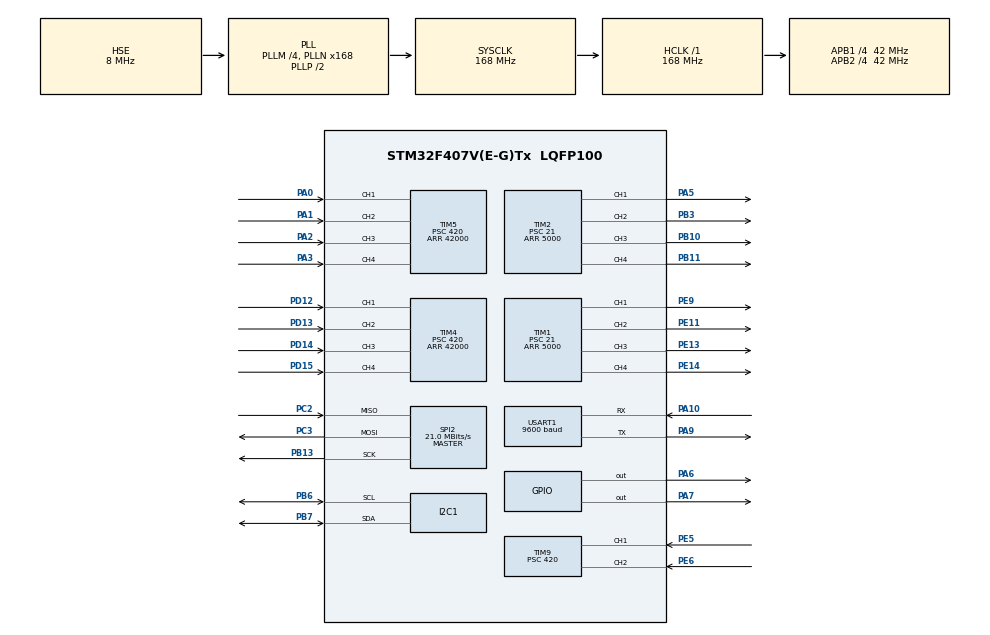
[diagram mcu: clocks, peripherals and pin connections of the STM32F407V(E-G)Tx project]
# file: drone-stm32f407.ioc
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Mcu.Family=STM32F4
Mcu.Name=STM32F407V(E-G)Tx
Mcu.Package=LQFP100
NVIC.I2C1_ER_IRQn=true\:0\:0\:false\:false\:true\:true\:true\:true
NVIC.I2C1_EV_IRQn=true\:0\:0\:false\:false\:true\:true\:true\:true
NVIC.PriorityGroup=NVIC_PRIORITYGROUP_4
NVIC.TIM1_BRK_TIM9_IRQn=true\:0\:0\:false\:false\:true\:true\:true\:true
NVIC.TIM3_IRQn=true\:0\:0\:false\:false\:true\:true\:true\:true
NVIC.TIM4_IRQn=true\:0\:0\:false\:false\:true\:true\:true\:true
NVIC.TIM5_IRQn=true\:0\:0\:false\:false\:true\:true\:true\:true
NVIC.USART1_IRQn=true\:0\:0\:false\:false\:true\:true\:true\:true
PA0-WKUP.Signal=S_TIM5_CH1
PA1.Signal=S_TIM5_CH2
PA10.Mode=Asynchronous
PA10.Signal=USART1_RX
PA13.Mode=Serial_Wire
PA13.Signal=SYS_JTMS-SWDIO
PA14.Mode=Serial_Wire
PA14.Signal=SYS_JTCK-SWCLK
PA2.Signal=S_TIM5_CH3
PA3.Signal=S_TIM5_CH4
PA5.Signal=S_TIM2_CH1_ETR
PA6.Signal=GPIO_Output
PA7.Signal=GPIO_Output
PA9.Mode=Asynchronous
PA9.Signal=USART1_TX
PB10.Signal=S_TIM2_CH3
PB11.Signal=S_TIM2_CH4
PB13.Mode=Full_Duplex_Master
PB13.Signal=SPI2_SCK
PB3.Signal=S_TIM2_CH2
PB6.Mode=I2C
PB6.Signal=I2C1_SCL
PB7.Mode=I2C
PB7.Signal=I2C1_SDA
PC2.Mode=Full_Duplex_Master
PC2.Signal=SPI2_MISO
PC3.Mode=Full_Duplex_Master
PC3.Signal=SPI2_MOSI
PD12.Signal=S_TIM4_CH1
PD13.Signal=S_TIM4_CH2
PD14.Signal=S_TIM4_CH3
PD15.Signal=S_TIM4_CH4
PE11.Signal=S_TIM1_CH2
PE13.Signal=S_TIM1_CH3
PE14.Signal=S_TIM1_CH4
PE5.Signal=S_TIM9_CH1
PE6.Signal=S_TIM9_CH2
PE9.Signal=S_TIM1_CH1
PH0-OSC_IN.Mode=HSE-External-Oscillator
PH0-OSC_IN.Signal=RCC_OSC_IN
PH1-OSC_OUT.Mode=HSE-External-Oscillator
PH1-OSC_OUT.Signal=RCC_OSC_OUT
ProjectManager.HeapSize=0x200
ProjectManager.StackSize=0x400
ProjectManager.TargetToolchain=STM32CubeIDE
RCC.48MHZClocksFreq_Value=84000000
RCC.AHBFreq_Value=168000000
RCC.APB1CLKDivider=RCC_HCLK_DIV4
RCC.APB1Freq_Value=42000000
RCC.APB1TimFreq_Value=84000000
RCC.APB2CLKDivider=RCC_HCLK_DIV4
RCC.APB2Freq_Value=42000000
RCC.APB2TimFreq_Value=84000000
RCC.CortexFreq_Value=168000000
RCC.HCLKFreq_Value=168000000
RCC.HSE_VALUE=8000000
RCC.HSI_VALUE=16000000
RCC.LSE_VALUE=32768
RCC.PLLM=4
RCC.PLLN=168
RCC.PLLSourceVirtual=RCC_PLLSOURCE_HSE
RCC.SYSCLKFreq_VALUE=168000000
RCC.SYSCLKSource=RCC_SYSCLKSOURCE_PLLCLK
RCC.VCOOutputFreq_Value=336000000
SH.S_TIM1_CH1.0=TIM1_CH1,PWM Generation1 CH1
SH.S_TIM1_CH2.0=TIM1_CH2,PWM Generation2 CH2
SH.S_TIM1_CH3.0=TIM1_CH3,PWM Generation3 CH3
SH.S_TIM1_CH4.0=TIM1_CH4,PWM Generation4 CH4
SH.S_TIM2_CH1_ETR.0=TIM2_CH1,PWM Generation1 CH1
SH.S_TIM2_CH2.0=TIM2_CH2,PWM Generation2 CH2
SH.S_TIM2_CH3.0=TIM2_CH3,PWM Generation3 CH3
SH.S_TIM2_CH4.0=TIM2_CH4,PWM Generation4 CH4
SH.S_TIM4_CH1.0=TIM4_CH1,Input_Capture1_from_TI1
SH.S_TIM4_CH2.0=TIM4_CH2,Input_Capture2_from_TI2
SH.S_TIM4_CH3.0=TIM4_CH3,Input_Capture3_from_TI3
SH.S_TIM4_CH4.0=TIM4_CH4,Input_Capture4_from_TI4
SH.S_TIM5_CH1.0=TIM5_CH1,Input_Capture1_from_TI1
SH.S_TIM5_CH2.0=TIM5_CH2,Input_Capture2_from_TI2
SH.S_TIM5_CH3.0=TIM5_CH3,Input_Capture3_from_TI3
SH.S_TIM5_CH4.0=TIM5_CH4,Input_Capture4_from_TI4
SH.S_TIM9_CH1.0=TIM9_CH1,Input_Capture1_from_TI1
SH.S_TIM9_CH2.0=TIM9_CH2,Input_Capture2_from_TI2
SPI2.CalculateBaudRate=21.0 MBits/s
SPI2.Direction=SPI_DIRECTION_2LINES
SPI2.Mode=SPI_MODE_MASTER
SPI2.VirtualType=VM_MASTER
TIM1.Channel-PWM\ Generation1\ CH1=TIM_CHANNEL_1
TIM1.Channel-PWM\ Generation2\ CH2=TIM_CHANNEL_2
TIM1.Channel-PWM\ Generation3\ CH3=TIM_CHANNEL_3
TIM1.Channel-PWM\ Generation4\ CH4=TIM_CHANNEL_4
TIM1.Period=5000
TIM1.Prescaler=21
TIM2.Channel-PWM\ Generation1\ CH1=TIM_CHANNEL_1
TIM2.Channel-PWM\ Generation2\ CH2=TIM_CHANNEL_2
TIM2.Channel-PWM\ Generation3\ CH3=TIM_CHANNEL_3
TIM2.Channel-PWM\ Generation4\ CH4=TIM_CHANNEL_4
TIM2.Period=5000
TIM2.Prescaler=21
TIM3.Period=5000
TIM3.Prescaler=84
TIM4.Channel-Input_Capture1_from_TI1=TIM_CHANNEL_1
TIM4.Channel-Input_Capture2_from_TI2=TIM_CHANNEL_2
TIM4.Channel-Input_Capture3_from_TI3=TIM_CHANNEL_3
TIM4.Channel-Input_Capture4_from_TI4=TIM_CHANNEL_4
TIM4.ICPolarity_CH1=TIM_INPUTCHANNELPOLARITY_BOTHEDGE
TIM4.ICPolarity_CH2=TIM_INPUTCHANNELPOLARITY_BOTHEDGE
TIM4.ICPolarity_CH3=TIM_INPUTCHANNELPOLARITY_BOTHEDGE
TIM4.ICPolarity_CH4=TIM_INPUTCHANNELPOLARITY_BOTHEDGE
TIM4.Period=42000
TIM4.Prescaler=420
TIM5.Channel-Input_Capture1_from_TI1=TIM_CHANNEL_1
TIM5.Channel-Input_Capture2_from_TI2=TIM_CHANNEL_2
TIM5.Channel-Input_Capture3_from_TI3=TIM_CHANNEL_3
TIM5.Channel-Input_Capture4_from_TI4=TIM_CHANNEL_4
TIM5.ICPolarity_CH1=TIM_INPUTCHANNELPOLARITY_BOTHEDGE
TIM5.ICPolarity_CH2=TIM_INPUTCHANNELPOLARITY_BOTHEDGE
TIM5.ICPolarity_CH3=TIM_INPUTCHANNELPOLARITY_BOTHEDGE
TIM5.ICPolarity_CH4=TIM_INPUTCHANNELPOLARITY_BOTHEDGE
TIM5.Period=42000
TIM5.Prescaler=420
TIM9.Channel-Input_Capture1_from_TI1=TIM_CHANNEL_1
TIM9.Channel-Input_Capture2_from_TI2=TIM_CHANNEL_2
TIM9.ICPolarity_CH1=TIM_INPUTCHANNELPOLARITY_BOTHEDGE
TIM9.ICPolarity_CH2=TIM_INPUTCHANNELPOLARITY_BOTHEDGE
TIM9.Period=42000
TIM9.Prescaler=420
USART1.BaudRate=9600
USART1.VirtualMode=VM_ASYNC
VP_TIM1_VS_ClockSourceINT.Mode=Internal
VP_TIM2_VS_ClockSourceINT.Mode=Internal
VP_TIM3_VS_ClockSourceINT.Mode=Internal
VP_TIM4_VS_ClockSourceINT.Mode=Internal
VP_TIM5_VS_ClockSourceINT.Mode=Internal
board=custom

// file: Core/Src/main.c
/* USER CODE BEGIN Header */
/**
  ******************************************************************************
  * @file           : main.c
  * @brief          : Main program body
  ******************************************************************************
  * @attention
  *
  * Copyright (c) 2022 STMicroelectronics.
  * All rights reserved.
  *
  * This software is licensed under terms that can be found in the LICENSE file
  * in the root directory of this software component.
  * If no LICENSE file comes with this software, it is provided AS-IS.
  *
  ******************************************************************************
  */
/* USER CODE END Header */
#include "main.h"

/* USER CODE BEGIN Includes */

#include <stdio.h>
#include <string.h>
#include "kalman.h"
#include "gy86.h"

/* USER CODE END Includes */

 I2C_HandleTypeDef hi2c1;

SPI_HandleTypeDef hspi2;

TIM_HandleTypeDef htim1;
TIM_HandleTypeDef htim2;
TIM_HandleTypeDef htim3;
TIM_HandleTypeDef htim4;
TIM_HandleTypeDef htim5;
TIM_HandleTypeDef htim9;

UART_HandleTypeDef huart1;

/* USER CODE BEGIN PV */

kalman_filter_t g_filters[10];

mpu6050_t g_mpu6050;
ms5611_t g_ms5611;

// UART receive buffer
uint8_t g_uart_rx_buffer[10] = {0, 0, 0, 0, 0, 0, 0, 0, 0, 0};

/* USER CODE END PV */

void SystemClock_Config(void);
static void MX_GPIO_Init(void);
static void MX_I2C1_Init(void);
static void MX_TIM1_Init(void);
static void MX_TIM2_Init(void);
static void MX_TIM3_Init(void);
static void MX_TIM4_Init(void);
static void MX_USART1_UART_Init(void);
static void MX_SPI2_Init(void);
static void MX_TIM5_Init(void);
static void MX_TIM9_Init(void);

/* USER CODE BEGIN 0 */

static void flash(uint8_t led, uint8_t count) {
  for (int i = 0; i < count; i++) {
    if (led == 1) HAL_GPIO_TogglePin(GPIOA, GPIO_PIN_6);
    if (led == 2) HAL_GPIO_TogglePin(GPIOA, GPIO_PIN_7);
    HAL_Delay(50);
    if (led == 1) HAL_GPIO_TogglePin(GPIOA, GPIO_PIN_6);
    if (led == 2) HAL_GPIO_TogglePin(GPIOA, GPIO_PIN_7);
    HAL_Delay(50);
  }

  HAL_Delay(100);
}

// Monitor console
void console(const char *str) {
  HAL_UART_Transmit_IT(&huart1, (uint8_t*)str, (uint16_t)strlen(str));
}

char g_console_msg[256] = {0};
void send_data(
  float x1, float x2, float x3,
  float x4, float x5, float x6,
  float x7, float x8, float x9) {
  memset(g_console_msg, 0, 256);
  sprintf(g_console_msg, "[%d,%d,%d,%d,%d,%d,%d,%d,%d]\n",
      (int)(x1*100000),
      (int)(x2*100000),
      (int)(x3*100000),
      (int)(x4*100000),
      (int)(x5*100000),
      (int)(x6*100000),
      (int)(x7*100000),
      (int)(x8*100000),
      (int)(x9*100000));
  console(g_console_msg);
}

extern float monitor[9];

/* USER CODE END 0 */

int main(void)
{

  /* MCU Configuration--------------------------------------------------------*/

  /* Reset of all peripherals, Initializes the Flash interface and the Systick. */
  HAL_Init();

  /* Configure the system clock */
  SystemClock_Config();

  /* Initialize all configured peripherals */
  MX_GPIO_Init();
  MX_I2C1_Init();
  MX_TIM1_Init();
  MX_TIM2_Init();
  MX_TIM3_Init();
  MX_TIM4_Init();
  MX_USART1_UART_Init();
  MX_SPI2_Init();
  MX_TIM5_Init();
  MX_TIM9_Init();
  /* USER CODE BEGIN 2 */

  // Turn off leds
  HAL_GPIO_WritePin(GPIOA, GPIO_PIN_6, RESET);
  HAL_GPIO_WritePin(GPIOA, GPIO_PIN_7, RESET);

  flash(1, 5);

  // Initialise filters for remote control
  kalman_filter_init(&g_filters[0], 2, 2, 0.01); // Thrust
  kalman_filter_init(&g_filters[1], 2, 2, 0.01); // Yaw
  kalman_filter_init(&g_filters[2], 2, 2, 0.01); // Pitch
  kalman_filter_init(&g_filters[3], 2, 2, 0.01); // Roll
  kalman_filter_init(&g_filters[4], 2, 2, 0.01); // Tune 1
  kalman_filter_init(&g_filters[5], 2, 2, 0.01); // Tune 2

  // Init gy-86
  while (1) {
    int error = MPU6050_init(
        &g_mpu6050,
        &hi2c1,
        MPU6050_DataRate_8KHz,
        MPU6050_Accelerometer_16G,
        MPU6050_Gyroscope_2000s);
    if (error == 0) break;
    flash(2, error);
  }

  MPU6050_set_offset(&g_mpu6050, -370, 50, 0, -4.4, -1.8, 0.5);

  while (1) {
    int error = MS5611_init(
        &g_ms5611,
        &hi2c1);
    if (error == 0) break;
    flash(2, error);
  }

  // For remote control input capture
  HAL_TIM_IC_Start_IT(&htim4, TIM_CHANNEL_1);
  HAL_TIM_IC_Start_IT(&htim4, TIM_CHANNEL_2);
  HAL_TIM_IC_Start_IT(&htim4, TIM_CHANNEL_3);
  HAL_TIM_IC_Start_IT(&htim4, TIM_CHANNEL_4);

  HAL_TIM_IC_Start_IT(&htim9, TIM_CHANNEL_1);
  HAL_TIM_IC_Start_IT(&htim9, TIM_CHANNEL_2);

  HAL_TIM_IC_Start_IT(&htim5, TIM_CHANNEL_1);
  HAL_TIM_IC_Start_IT(&htim5, TIM_CHANNEL_2);
  HAL_TIM_IC_Start_IT(&htim5, TIM_CHANNEL_3);
  HAL_TIM_IC_Start_IT(&htim5, TIM_CHANNEL_4);

  // Initialise motor PWM timer
  HAL_TIM_PWM_Start(&htim1, TIM_CHANNEL_1);
  HAL_TIM_PWM_Start(&htim1, TIM_CHANNEL_2);
  HAL_TIM_PWM_Start(&htim1, TIM_CHANNEL_3);
  HAL_TIM_PWM_Start(&htim1, TIM_CHANNEL_4);

  // Run timers after sensors have been setup
  HAL_TIM_Base_Start_IT(&htim3);

  /* USER CODE END 2 */

  /* Infinite loop */
  while (1)
  {

    /* USER CODE BEGIN 3 */
    HAL_UART_Receive_IT(&huart1, g_uart_rx_buffer, 1);
  }
  /* USER CODE END 3 */
}

void SystemClock_Config(void)
{
  RCC_OscInitTypeDef RCC_OscInitStruct = {0};
  RCC_ClkInitTypeDef RCC_ClkInitStruct = {0};

  /** Configure the main internal regulator output voltage
  */
  __HAL_RCC_PWR_CLK_ENABLE();
  __HAL_PWR_VOLTAGESCALING_CONFIG(PWR_REGULATOR_VOLTAGE_SCALE1);

  /** Initializes the RCC Oscillators according to the specified parameters
  * in the RCC_OscInitTypeDef structure.
  */
  RCC_OscInitStruct.OscillatorType = RCC_OSCILLATORTYPE_LSI|RCC_OSCILLATORTYPE_HSE;
  RCC_OscInitStruct.HSEState = RCC_HSE_ON;
  RCC_OscInitStruct.LSIState = RCC_LSI_ON;
  RCC_OscInitStruct.PLL.PLLState = RCC_PLL_ON;
  RCC_OscInitStruct.PLL.PLLSource = RCC_PLLSOURCE_HSE;
  RCC_OscInitStruct.PLL.PLLM = 4;
  RCC_OscInitStruct.PLL.PLLN = 168;
  RCC_OscInitStruct.PLL.PLLP = RCC_PLLP_DIV2;
  RCC_OscInitStruct.PLL.PLLQ = 4;
  if (HAL_RCC_OscConfig(&RCC_OscInitStruct) != HAL_OK)
  {
    Error_Handler();
  }

  /** Initializes the CPU, AHB and APB buses clocks
  */
  RCC_ClkInitStruct.ClockType = RCC_CLOCKTYPE_HCLK|RCC_CLOCKTYPE_SYSCLK
                              |RCC_CLOCKTYPE_PCLK1|RCC_CLOCKTYPE_PCLK2;
  RCC_ClkInitStruct.SYSCLKSource = RCC_SYSCLKSOURCE_PLLCLK;
  RCC_ClkInitStruct.AHBCLKDivider = RCC_SYSCLK_DIV1;
  RCC_ClkInitStruct.APB1CLKDivider = RCC_HCLK_DIV4;
  RCC_ClkInitStruct.APB2CLKDivider = RCC_HCLK_DIV4;

  if (HAL_RCC_ClockConfig(&RCC_ClkInitStruct, FLASH_LATENCY_5) != HAL_OK)
  {
    Error_Handler();
  }
}

static void MX_I2C1_Init(void)
{

  hi2c1.Instance = I2C1;
  hi2c1.Init.ClockSpeed = 100000;
  hi2c1.Init.DutyCycle = I2C_DUTYCYCLE_2;
  hi2c1.Init.OwnAddress1 = 0;
  hi2c1.Init.AddressingMode = I2C_ADDRESSINGMODE_7BIT;
  hi2c1.Init.DualAddressMode = I2C_DUALADDRESS_DISABLE;
  hi2c1.Init.OwnAddress2 = 0;
  hi2c1.Init.GeneralCallMode = I2C_GENERALCALL_DISABLE;
  hi2c1.Init.NoStretchMode = I2C_NOSTRETCH_DISABLE;
  if (HAL_I2C_Init(&hi2c1) != HAL_OK)
  {
    Error_Handler();
  }

}

static void MX_SPI2_Init(void)
{

  /* SPI2 parameter configuration*/
  hspi2.Instance = SPI2;
  hspi2.Init.Mode = SPI_MODE_MASTER;
  hspi2.Init.Direction = SPI_DIRECTION_2LINES;
  hspi2.Init.DataSize = SPI_DATASIZE_8BIT;
  hspi2.Init.CLKPolarity = SPI_POLARITY_LOW;
  hspi2.Init.CLKPhase = SPI_PHASE_1EDGE;
  hspi2.Init.NSS = SPI_NSS_SOFT;
  hspi2.Init.BaudRatePrescaler = SPI_BAUDRATEPRESCALER_2;
  hspi2.Init.FirstBit = SPI_FIRSTBIT_MSB;
  hspi2.Init.TIMode = SPI_TIMODE_DISABLE;
  hspi2.Init.CRCCalculation = SPI_CRCCALCULATION_DISABLE;
  hspi2.Init.CRCPolynomial = 10;
  if (HAL_SPI_Init(&hspi2) != HAL_OK)
  {
    Error_Handler();
  }

}

static void MX_TIM1_Init(void)
{

  TIM_ClockConfigTypeDef sClockSourceConfig = {0};
  TIM_MasterConfigTypeDef sMasterConfig = {0};
  TIM_OC_InitTypeDef sConfigOC = {0};
  TIM_BreakDeadTimeConfigTypeDef sBreakDeadTimeConfig = {0};

  htim1.Instance = TIM1;
  htim1.Init.Prescaler = 21;
  htim1.Init.CounterMode = TIM_COUNTERMODE_UP;
  htim1.Init.Period = 5000;
  htim1.Init.ClockDivision = TIM_CLOCKDIVISION_DIV1;
  htim1.Init.RepetitionCounter = 0;
  htim1.Init.AutoReloadPreload = TIM_AUTORELOAD_PRELOAD_DISABLE;
  if (HAL_TIM_Base_Init(&htim1) != HAL_OK)
  {
    Error_Handler();
  }
  sClockSourceConfig.ClockSource = TIM_CLOCKSOURCE_INTERNAL;
  if (HAL_TIM_ConfigClockSource(&htim1, &sClockSourceConfig) != HAL_OK)
  {
    Error_Handler();
  }
  if (HAL_TIM_PWM_Init(&htim1) != HAL_OK)
  {
    Error_Handler();
  }
  sMasterConfig.MasterOutputTrigger = TIM_TRGO_RESET;
  sMasterConfig.MasterSlaveMode = TIM_MASTERSLAVEMODE_DISABLE;
  if (HAL_TIMEx_MasterConfigSynchronization(&htim1, &sMasterConfig) != HAL_OK)
  {
    Error_Handler();
  }
  sConfigOC.OCMode = TIM_OCMODE_PWM1;
  sConfigOC.Pulse = 0;
  sConfigOC.OCPolarity = TIM_OCPOLARITY_HIGH;
  sConfigOC.OCNPolarity = TIM_OCNPOLARITY_HIGH;
  sConfigOC.OCFastMode = TIM_OCFAST_DISABLE;
  sConfigOC.OCIdleState = TIM_OCIDLESTATE_RESET;
  sConfigOC.OCNIdleState = TIM_OCNIDLESTATE_RESET;
  if (HAL_TIM_PWM_ConfigChannel(&htim1, &sConfigOC, TIM_CHANNEL_1) != HAL_OK)
  {
    Error_Handler();
  }
  if (HAL_TIM_PWM_ConfigChannel(&htim1, &sConfigOC, TIM_CHANNEL_2) != HAL_OK)
  {
    Error_Handler();
  }
  if (HAL_TIM_PWM_ConfigChannel(&htim1, &sConfigOC, TIM_CHANNEL_3) != HAL_OK)
  {
    Error_Handler();
  }
  if (HAL_TIM_PWM_ConfigChannel(&htim1, &sConfigOC, TIM_CHANNEL_4) != HAL_OK)
  {
    Error_Handler();
  }
  sBreakDeadTimeConfig.OffStateRunMode = TIM_OSSR_DISABLE;
  sBreakDeadTimeConfig.OffStateIDLEMode = TIM_OSSI_DISABLE;
  sBreakDeadTimeConfig.LockLevel = TIM_LOCKLEVEL_OFF;
  sBreakDeadTimeConfig.DeadTime = 0;
  sBreakDeadTimeConfig.BreakState = TIM_BREAK_DISABLE;
  sBreakDeadTimeConfig.BreakPolarity = TIM_BREAKPOLARITY_HIGH;
  sBreakDeadTimeConfig.AutomaticOutput = TIM_AUTOMATICOUTPUT_DISABLE;
  if (HAL_TIMEx_ConfigBreakDeadTime(&htim1, &sBreakDeadTimeConfig) != HAL_OK)
  {
    Error_Handler();
  }
  HAL_TIM_MspPostInit(&htim1);

}

static void MX_TIM2_Init(void)
{

  TIM_ClockConfigTypeDef sClockSourceConfig = {0};
  TIM_MasterConfigTypeDef sMasterConfig = {0};
  TIM_OC_InitTypeDef sConfigOC = {0};

  htim2.Instance = TIM2;
  htim2.Init.Prescaler = 21;
  htim2.Init.CounterMode = TIM_COUNTERMODE_UP;
  htim2.Init.Period = 5000;
  htim2.Init.ClockDivision = TIM_CLOCKDIVISION_DIV1;
  htim2.Init.AutoReloadPreload = TIM_AUTORELOAD_PRELOAD_DISABLE;
  if (HAL_TIM_Base_Init(&htim2) != HAL_OK)
  {
    Error_Handler();
  }
  sClockSourceConfig.ClockSource = TIM_CLOCKSOURCE_INTERNAL;
  if (HAL_TIM_ConfigClockSource(&htim2, &sClockSourceConfig) != HAL_OK)
  {
    Error_Handler();
  }
  if (HAL_TIM_PWM_Init(&htim2) != HAL_OK)
  {
    Error_Handler();
  }
  sMasterConfig.MasterOutputTrigger = TIM_TRGO_RESET;
  sMasterConfig.MasterSlaveMode = TIM_MASTERSLAVEMODE_DISABLE;
  if (HAL_TIMEx_MasterConfigSynchronization(&htim2, &sMasterConfig) != HAL_OK)
  {
    Error_Handler();
  }
  sConfigOC.OCMode = TIM_OCMODE_PWM1;
  sConfigOC.Pulse = 0;
  sConfigOC.OCPolarity = TIM_OCPOLARITY_HIGH;
  sConfigOC.OCFastMode = TIM_OCFAST_DISABLE;
  if (HAL_TIM_PWM_ConfigChannel(&htim2, &sConfigOC, TIM_CHANNEL_1) != HAL_OK)
  {
    Error_Handler();
  }
  if (HAL_TIM_PWM_ConfigChannel(&htim2, &sConfigOC, TIM_CHANNEL_2) != HAL_OK)
  {
    Error_Handler();
  }
  if (HAL_TIM_PWM_ConfigChannel(&htim2, &sConfigOC, TIM_CHANNEL_3) != HAL_OK)
  {
    Error_Handler();
  }
  if (HAL_TIM_PWM_ConfigChannel(&htim2, &sConfigOC, TIM_CHANNEL_4) != HAL_OK)
  {
    Error_Handler();
  }
  HAL_TIM_MspPostInit(&htim2);

}

static void MX_TIM3_Init(void)
{

  TIM_ClockConfigTypeDef sClockSourceConfig = {0};
  TIM_MasterConfigTypeDef sMasterConfig = {0};

  htim3.Instance = TIM3;
  htim3.Init.Prescaler = 84;
  htim3.Init.CounterMode = TIM_COUNTERMODE_UP;
  htim3.Init.Period = 5000;
  htim3.Init.ClockDivision = TIM_CLOCKDIVISION_DIV1;
  htim3.Init.AutoReloadPreload = TIM_AUTORELOAD_PRELOAD_DISABLE;
  if (HAL_TIM_Base_Init(&htim3) != HAL_OK)
  {
    Error_Handler();
  }
  sClockSourceConfig.ClockSource = TIM_CLOCKSOURCE_INTERNAL;
  if (HAL_TIM_ConfigClockSource(&htim3, &sClockSourceConfig) != HAL_OK)
  {
    Error_Handler();
  }
  sMasterConfig.MasterOutputTrigger = TIM_TRGO_RESET;
  sMasterConfig.MasterSlaveMode = TIM_MASTERSLAVEMODE_DISABLE;
  if (HAL_TIMEx_MasterConfigSynchronization(&htim3, &sMasterConfig) != HAL_OK)
  {
    Error_Handler();
  }

}

static void MX_TIM4_Init(void)
{

  TIM_ClockConfigTypeDef sClockSourceConfig = {0};
  TIM_MasterConfigTypeDef sMasterConfig = {0};
  TIM_IC_InitTypeDef sConfigIC = {0};

  htim4.Instance = TIM4;
  htim4.Init.Prescaler = 420;
  htim4.Init.CounterMode = TIM_COUNTERMODE_UP;
  htim4.Init.Period = 42000;
  htim4.Init.ClockDivision = TIM_CLOCKDIVISION_DIV1;
  htim4.Init.AutoReloadPreload = TIM_AUTORELOAD_PRELOAD_DISABLE;
  if (HAL_TIM_Base_Init(&htim4) != HAL_OK)
  {
    Error_Handler();
  }
  sClockSourceConfig.ClockSource = TIM_CLOCKSOURCE_INTERNAL;
  if (HAL_TIM_ConfigClockSource(&htim4, &sClockSourceConfig) != HAL_OK)
  {
    Error_Handler();
  }
  if (HAL_TIM_IC_Init(&htim4) != HAL_OK)
  {
    Error_Handler();
  }
  sMasterConfig.MasterOutputTrigger = TIM_TRGO_RESET;
  sMasterConfig.MasterSlaveMode = TIM_MASTERSLAVEMODE_DISABLE;
  if (HAL_TIMEx_MasterConfigSynchronization(&htim4, &sMasterConfig) != HAL_OK)
  {
    Error_Handler();
  }
  sConfigIC.ICPolarity = TIM_INPUTCHANNELPOLARITY_BOTHEDGE;
  sConfigIC.ICSelection = TIM_ICSELECTION_DIRECTTI;
  sConfigIC.ICPrescaler = TIM_ICPSC_DIV1;
  sConfigIC.ICFilter = 0;
  if (HAL_TIM_IC_ConfigChannel(&htim4, &sConfigIC, TIM_CHANNEL_1) != HAL_OK)
  {
    Error_Handler();
  }
  if (HAL_TIM_IC_ConfigChannel(&htim4, &sConfigIC, TIM_CHANNEL_2) != HAL_OK)
  {
    Error_Handler();
  }
  if (HAL_TIM_IC_ConfigChannel(&htim4, &sConfigIC, TIM_CHANNEL_3) != HAL_OK)
  {
    Error_Handler();
  }
  if (HAL_TIM_IC_ConfigChannel(&htim4, &sConfigIC, TIM_CHANNEL_4) != HAL_OK)
  {
    Error_Handler();
  }

}

static void MX_TIM5_Init(void)
{

  TIM_ClockConfigTypeDef sClockSourceConfig = {0};
  TIM_MasterConfigTypeDef sMasterConfig = {0};
  TIM_IC_InitTypeDef sConfigIC = {0};

  htim5.Instance = TIM5;
  htim5.Init.Prescaler = 420;
  htim5.Init.CounterMode = TIM_COUNTERMODE_UP;
  htim5.Init.Period = 42000;
  htim5.Init.ClockDivision = TIM_CLOCKDIVISION_DIV1;
  htim5.Init.AutoReloadPreload = TIM_AUTORELOAD_PRELOAD_DISABLE;
  if (HAL_TIM_Base_Init(&htim5) != HAL_OK)
  {
    Error_Handler();
  }
  sClockSourceConfig.ClockSource = TIM_CLOCKSOURCE_INTERNAL;
  if (HAL_TIM_ConfigClockSource(&htim5, &sClockSourceConfig) != HAL_OK)
  {
    Error_Handler();
  }
  if (HAL_TIM_IC_Init(&htim5) != HAL_OK)
  {
    Error_Handler();
  }
  sMasterConfig.MasterOutputTrigger = TIM_TRGO_RESET;
  sMasterConfig.MasterSlaveMode = TIM_MASTERSLAVEMODE_DISABLE;
  if (HAL_TIMEx_MasterConfigSynchronization(&htim5, &sMasterConfig) != HAL_OK)
  {
    Error_Handler();
  }
  sConfigIC.ICPolarity = TIM_INPUTCHANNELPOLARITY_BOTHEDGE;
  sConfigIC.ICSelection = TIM_ICSELECTION_DIRECTTI;
  sConfigIC.ICPrescaler = TIM_ICPSC_DIV1;
  sConfigIC.ICFilter = 0;
  if (HAL_TIM_IC_ConfigChannel(&htim5, &sConfigIC, TIM_CHANNEL_1) != HAL_OK)
  {
    Error_Handler();
  }
  if (HAL_TIM_IC_ConfigChannel(&htim5, &sConfigIC, TIM_CHANNEL_2) != HAL_OK)
  {
    Error_Handler();
  }
  if (HAL_TIM_IC_ConfigChannel(&htim5, &sConfigIC, TIM_CHANNEL_3) != HAL_OK)
  {
    Error_Handler();
  }
  if (HAL_TIM_IC_ConfigChannel(&htim5, &sConfigIC, TIM_CHANNEL_4) != HAL_OK)
  {
    Error_Handler();
  }

}

static void MX_TIM9_Init(void)
{

  TIM_IC_InitTypeDef sConfigIC = {0};

  htim9.Instance = TIM9;
  htim9.Init.Prescaler = 420;
  htim9.Init.CounterMode = TIM_COUNTERMODE_UP;
  htim9.Init.Period = 42000;
  htim9.Init.ClockDivision = TIM_CLOCKDIVISION_DIV1;
  htim9.Init.AutoReloadPreload = TIM_AUTORELOAD_PRELOAD_DISABLE;
  if (HAL_TIM_IC_Init(&htim9) != HAL_OK)
  {
    Error_Handler();
  }
  sConfigIC.ICPolarity = TIM_INPUTCHANNELPOLARITY_BOTHEDGE;
  sConfigIC.ICSelection = TIM_ICSELECTION_DIRECTTI;
  sConfigIC.ICPrescaler = TIM_ICPSC_DIV1;
  sConfigIC.ICFilter = 0;
  if (HAL_TIM_IC_ConfigChannel(&htim9, &sConfigIC, TIM_CHANNEL_1) != HAL_OK)
  {
    Error_Handler();
  }
  if (HAL_TIM_IC_ConfigChannel(&htim9, &sConfigIC, TIM_CHANNEL_2) != HAL_OK)
  {
    Error_Handler();
  }

}

static void MX_USART1_UART_Init(void)
{

  huart1.Instance = USART1;
  huart1.Init.BaudRate = 9600;
  huart1.Init.WordLength = UART_WORDLENGTH_8B;
  huart1.Init.StopBits = UART_STOPBITS_1;
  huart1.Init.Parity = UART_PARITY_NONE;
  huart1.Init.Mode = UART_MODE_TX_RX;
  huart1.Init.HwFlowCtl = UART_HWCONTROL_NONE;
  huart1.Init.OverSampling = UART_OVERSAMPLING_16;
  if (HAL_UART_Init(&huart1) != HAL_OK)
  {
    Error_Handler();
  }

}

static void MX_GPIO_Init(void)
{
  GPIO_InitTypeDef GPIO_InitStruct = {0};

  /* GPIO Ports Clock Enable */
  __HAL_RCC_GPIOE_CLK_ENABLE();
  __HAL_RCC_GPIOH_CLK_ENABLE();
  __HAL_RCC_GPIOC_CLK_ENABLE();
  __HAL_RCC_GPIOA_CLK_ENABLE();
  __HAL_RCC_GPIOB_CLK_ENABLE();
  __HAL_RCC_GPIOD_CLK_ENABLE();

  /*Configure GPIO pin Output Level */
  HAL_GPIO_WritePin(GPIOA, GPIO_PIN_6|GPIO_PIN_7, GPIO_PIN_RESET);

  /*Configure GPIO pins : PA6 PA7 */
  GPIO_InitStruct.Pin = GPIO_PIN_6|GPIO_PIN_7;
  GPIO_InitStruct.Mode = GPIO_MODE_OUTPUT_PP;
  GPIO_InitStruct.Pull = GPIO_NOPULL;
  GPIO_InitStruct.Speed = GPIO_SPEED_FREQ_LOW;
  HAL_GPIO_Init(GPIOA, &GPIO_InitStruct);

}

void Error_Handler(void)
{
  __disable_irq();
  while (1)
  {
  }
}
